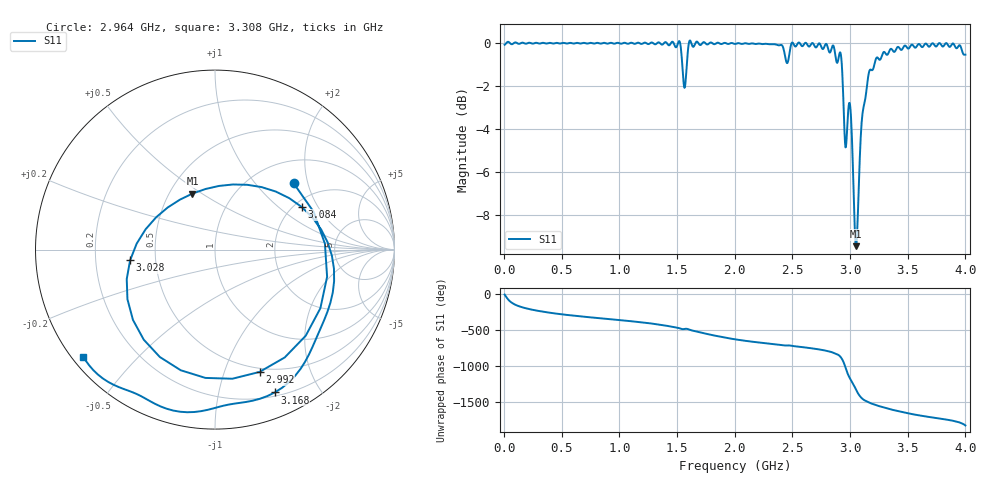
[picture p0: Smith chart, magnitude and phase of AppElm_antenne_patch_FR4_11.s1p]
! TOUCHSTONE file generated by CST MICROWAVE STUDIO
! Date and time: Tue Jun  7 20:32:36 2022
! Project name: AppElm_antenne_patch_FR4.cst
! Parameters = {L=45; W=58.5; e=0.035; h=1.6; lambda=0.190476; ls=120; w0=1.6; w1=0.533333; ws=120; y0=25; y1=23.8095}
! Header version: 2018
! Port assignment regex: !\s*Touchstone port\s*([0-9]+)\s*=\s*(CST MWS port|CST DS port)\s*([0-9]+|Zmin|Zmax)\s*\(\"(.*)\"\)(\s*mode\s*([0-9]+))?.*
! Touchstone port assignment:
! Touchstone port 1 = CST MWS port 1 ("")
# GHz S MA R 50
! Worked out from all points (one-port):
!   1000 points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, 4 MHz to 4 GHz, reference 50 ohm
!   lowest |S11| = -9.5 dB at 3.052 GHz (marker M1), VSWR 2.01, Z = 32.5 + j22.9 ohm
!   |S11| at or under -10 dB: nowhere
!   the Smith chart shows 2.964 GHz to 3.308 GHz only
!   S11 on the Smith chart (normalised r, x): 2.964 GHz: 1.49, +1.63; 2.992 GHz: 0.46, -1.32; 3.028 GHz: 0.36, -0.05; 3.084 GHz: 2.19, +1.47; 3.168 GHz: 0.24, -1.48; 3.308 GHz: 0.03, -0.35
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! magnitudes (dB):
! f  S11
! 4 MHz  -0.1
! 504 MHz  0.0
! 1.004 GHz  0.0
! 1.504 GHz  -0.1
! 1.524 GHz  0.1
! 1.564 GHz  -2.1
! 1.616 GHz  0.1
! 2.004 GHz  0.0
! 2.396 GHz  -0.1
! 2.452 GHz  -0.9
! 2.504 GHz  0.0
! 2.908 GHz  -0.5
! 2.924 GHz  -0.7
! 2.952 GHz  -4.2
! 2.964 GHz  -4.8
! 2.992 GHz  -2.8
! 3.004 GHz  -3.1
! 3.028 GHz  -6.4
! 3.04 GHz  -8.5
! 3.052 GHz  -9.5
! 3.064 GHz  -8.5
! 3.084 GHz  -5.4
! 3.112 GHz  -3.1
! 3.168 GHz  -1.3
! 3.308 GHz  -0.5
! 3.504 GHz  -0.3
! 3.892 GHz  0.0
! 4 GHz  -0.5
